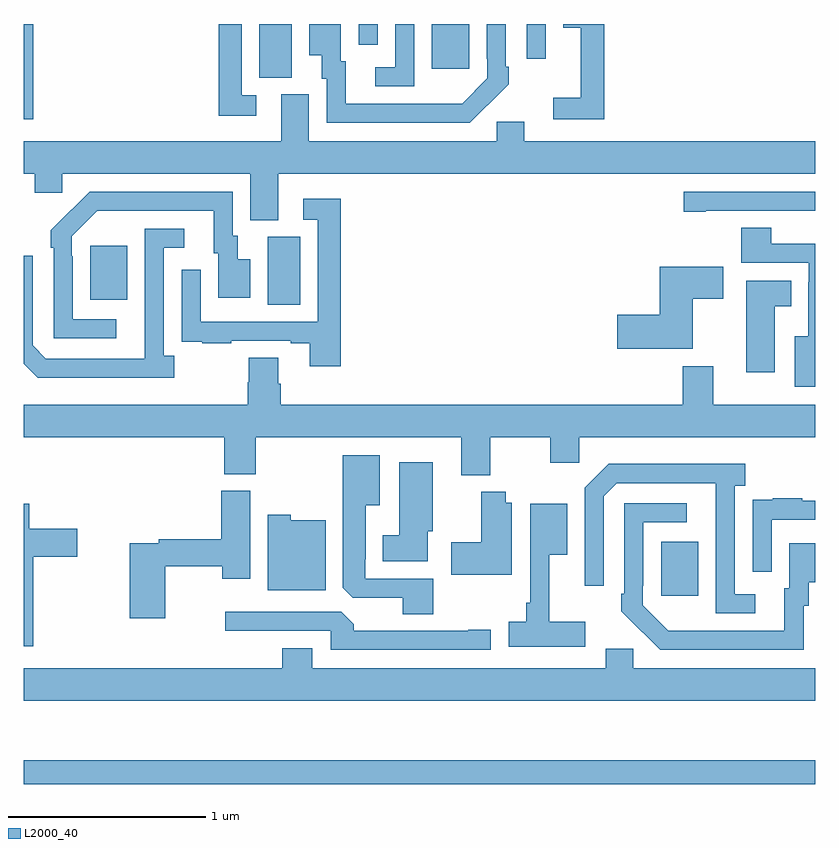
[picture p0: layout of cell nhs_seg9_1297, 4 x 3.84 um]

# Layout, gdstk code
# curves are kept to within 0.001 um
import gdstk
lib = gdstk.Library(unit=1e-6, precision=1e-09)
def R(c, l, rs):  # rectangles x0, y0, x1, y1
    for r in rs: c.add(gdstk.rectangle(r[:2], r[2:], *l))
def P(c, l, *ps):  # polygons
    for p in ps: c.add(gdstk.Polygon(p, *l))
L2000_40 = (2000, 40)

nhs_seg9_1297 = lib.new_cell('nhs_seg9_1297')
R(nhs_seg9_1297, L2000_40, [(183,1202.658,187,1202.779), (186.221,1203.609,186.409,1203.883), (184.232,1205.08,184.396,1205.424), (183.335,1205.105,183.523,1205.38), (183,1206.018,183.047,1206.5), (184.19,1206.229,184.354,1206.5), (185.063,1206.273,185.251,1206.5), (185.541,1206.324,185.637,1206.5), (184.692,1206.396,184.788,1206.5)])
P(nhs_seg9_1297, L2000_40, [(185.933,1206.5),(185.726,1206.5),(185.726,1206.482),(185.816,1206.482),(185.816,1206.127),(185.676,1206.127),(185.676,1206.018),(185.933,1206.018)],
  [(184.974,1206.5),(184.878,1206.5),(184.878,1206.282),(184.776,1206.282),(184.776,1206.186),(184.974,1206.186)],
  [(184.174,1206.141),(184.101,1206.141),(184.101,1206.5),(183.985,1206.5),(183.985,1206.036),(184.174,1206.036)],
  [(185.345,1206.091),(185.346,1206.09),(185.451,1206.195),(185.451,1206.283),(185.436,1206.283),(185.436,1206.5),(185.34,1206.5),(185.34,1206.325),(185.343,1206.325),(185.343,1206.225),(185.215,1206.097),(185.111,1206.096),(184.627,1206.096),(184.627,1206.312),(184.603,1206.312),(184.603,1206.5),(184.442,1206.5),(184.442,1206.341),(184.505,1206.341),(184.505,1206.222),(184.53,1206.222),(184.53,1206),(185.254,1206)],
  [(184.285,1205.744),(187,1205.744),(187,1205.908),(185.53,1205.908),(185.53,1206.006),(185.391,1206.006),(185.391,1205.908),(184.441,1205.908),(184.441,1206.144),(184.301,1206.144),(184.301,1205.908),(183,1205.908),(183,1205.744),(183.056,1205.744),(183.056,1205.646),(183.195,1205.646),(183.195,1205.744),(184.145,1205.744),(184.145,1205.509),(184.285,1205.509)],
  [(183.466,1205.007),(183.246,1205.007),(183.246,1205.327),(183.243,1205.327),(183.243,1205.427),(183.372,1205.556),(183.959,1205.556),(183.959,1205.34),(183.983,1205.34),(183.983,1205.115),(184.144,1205.115),(184.144,1205.311),(184.081,1205.311),(184.081,1205.43),(184.056,1205.43),(184.056,1205.652),(183.332,1205.652),(183.135,1205.457),(183.135,1205.369),(183.15,1205.369),(183.15,1204.911),(183.466,1204.911)],
  [(186.448,1205.556),(187,1205.556),(187,1205.652),(186.336,1205.652),(186.336,1205.551),(186.448,1205.551)],
  [(184.601,1205.617),(184.413,1205.617),(184.413,1205.511),(184.485,1205.511),(184.485,1204.995),(183.894,1204.995),(183.894,1205.257),(183.798,1205.257),(183.798,1205.002),(183.799,1205.002),(183.799,1204.893),(183.901,1204.893),(183.901,1204.887),(184.049,1204.887),(184.049,1204.899),(184.349,1204.899),(184.349,1204.887),(184.445,1204.887),(184.445,1204.77),(184.601,1204.77)],
  [(187,1205.388),(186.778,1205.388),(186.778,1205.471),(186.626,1205.471),(186.626,1205.292),(186.969,1205.292),(186.969,1205.195),(186.965,1205.195),(186.965,1204.921),(186.896,1204.921),(186.896,1204.667),(187,1204.667)],
  [(183.76,1204.822),(183.708,1204.822),(183.708,1205.37),(183.811,1205.37),(183.811,1205.466),(183.612,1205.466),(183.611,1204.809),(183.111,1204.809),(183.045,1204.875),(183.045,1205.329),(183,1205.329),(183,1204.782),(183.07,1204.712),(183.76,1204.712)],
  [(186.382,1205.11),(186.535,1205.11),(186.535,1205.272),(186.215,1205.272),(186.215,1205.03),(186,1205.03),(186,1204.859),(186.382,1204.859)],
  [(186.796,1205.072),(186.88,1205.072),(186.88,1205.203),(186.653,1205.203),(186.653,1204.74),(186.796,1204.74)],
  [(186.332,1204.771),(186.332,1204.576),(184.298,1204.576),(184.298,1204.682),(184.285,1204.682),(184.285,1204.814),(184.138,1204.814),(184.138,1204.689),(184.133,1204.689),(184.133,1204.576),(183,1204.576),(183,1204.412),(184.013,1204.412),(184.013,1204.225),(184.173,1204.225),(184.173,1204.412),(185.21,1204.412),(185.21,1204.22),(185.358,1204.22),(185.358,1204.412),(185.662,1204.412),(185.662,1204.281),(185.808,1204.281),(185.808,1204.412),(187,1204.412),(187,1204.576),(186.484,1204.576),(186.484,1204.771)],
  [(185.069,1203.696),(184.725,1203.696),(184.725,1203.793),(184.729,1203.793),(184.729,1204.067),(184.798,1204.067),(184.798,1204.321),(184.613,1204.321),(184.613,1203.649),(184.662,1203.6),(184.916,1203.6),(184.916,1203.517),(185.069,1203.517)],
  [(185.041,1203.936),(185.068,1203.936),(185.068,1204.285),(184.898,1204.285),(184.898,1203.916),(184.814,1203.916),(184.814,1203.785),(185.041,1203.785)],
  [(186.697,1203.618),(186.594,1203.618),(186.594,1204.166),(186.646,1204.166),(186.646,1204.276),(185.956,1204.276),(185.835,1204.155),(185.835,1203.66),(185.931,1203.66),(185.931,1204.113),(185.997,1204.179),(186.497,1204.179),(186.498,1203.522),(186.697,1203.522)],
  [(183.714,1203.76),(184.003,1203.76),(184.003,1203.696),(184.144,1203.696),(184.144,1204.14),(183.998,1204.14),(183.998,1203.896),(183.682,1203.896),(183.682,1203.876),(183.536,1203.876),(183.536,1203.495),(183.714,1203.495)],
  [(185.467,1204.081),(185.437,1204.081),(185.437,1204.135),(185.312,1204.135),(185.312,1203.879),(185.16,1203.879),(185.16,1203.716),(185.467,1203.716)],
  [(186.78,1203.993),(187,1203.993),(187,1204.089),(186.935,1204.089),(186.935,1204.102),(186.787,1204.102),(186.787,1204.095),(186.685,1204.095),(186.685,1203.986),(186.684,1203.986),(186.684,1203.732),(186.78,1203.732)],
  [(186.942,1203.558),(186.967,1203.558),(186.967,1203.677),(187,1203.677),(187,1203.874),(186.869,1203.874),(186.869,1203.648),(186.845,1203.648),(186.845,1203.432),(186.258,1203.433),(186.129,1203.561),(186.129,1203.661),(186.132,1203.661),(186.132,1203.981),(186.352,1203.981),(186.352,1204.077),(186.036,1204.077),(186.036,1203.619),(186.021,1203.619),(186.021,1203.531),(186.218,1203.336),(186.942,1203.336)],
  [(183.047,1203.806),(183.271,1203.806),(183.271,1203.948),(183.028,1203.948),(183.028,1204.075),(183,1204.075),(183,1203.354),(183.047,1203.354)],
  [(185.839,1203.478),(185.657,1203.478),(185.657,1203.818),(185.746,1203.818),(185.746,1204.075),(185.559,1204.075),(185.559,1203.574),(185.539,1203.574),(185.539,1203.478),(185.45,1203.478),(185.45,1203.353),(185.839,1203.353)],
  [(184.525,1203.991),(184.35,1203.991),(184.35,1204.018),(184.232,1204.018),(184.232,1203.638),(184.525,1203.638)],
  [(185.359,1203.437),(185.246,1203.437),(185.246,1203.432),(184.667,1203.432),(184.667,1203.466),(184.605,1203.528),(184.017,1203.528),(184.017,1203.432),(184.551,1203.432),(184.551,1203.336),(185.359,1203.336)],
  [(187,1203.244),(186.081,1203.244),(186.081,1203.342),(185.942,1203.342),(185.942,1203.244),(184.459,1203.244),(184.459,1203.343),(184.307,1203.343),(184.307,1203.244),(183,1203.244),(183,1203.08),(187,1203.08)])

lib.write_gds('nhs_seg9_1297.gds')
